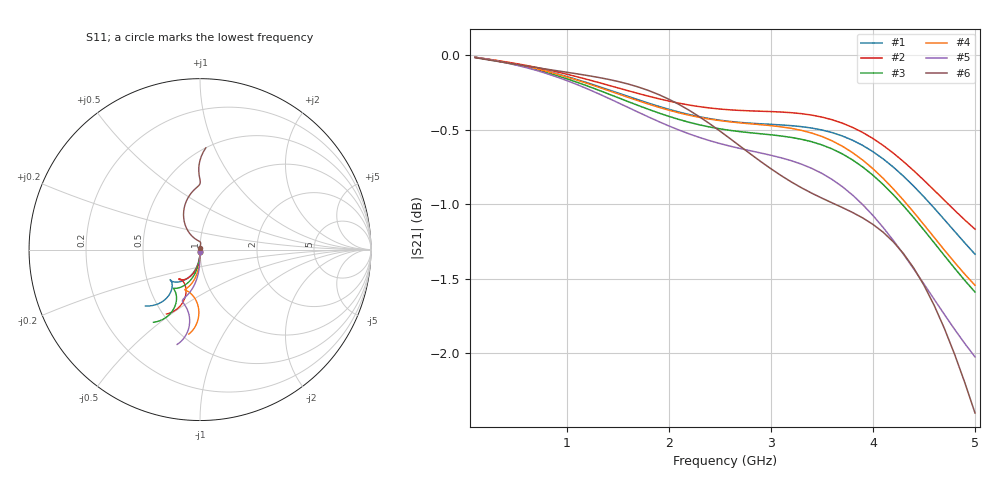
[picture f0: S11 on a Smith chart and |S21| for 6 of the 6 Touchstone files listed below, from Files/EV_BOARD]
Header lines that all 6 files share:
! List of port names and net name(s): example Port n = <port_name> <net_name1> <net_name2> ...
! Port 1 = P1 RF_IN GND GND
! Port 2 = P2 NetDD1_9 GND
# hz S ri R 50
! 2 Port Network Data from data block
! freq  reS11  imS11  reS21  imS21  reS12  imS12  reS22  imS22
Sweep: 100 MHz to 5 GHz
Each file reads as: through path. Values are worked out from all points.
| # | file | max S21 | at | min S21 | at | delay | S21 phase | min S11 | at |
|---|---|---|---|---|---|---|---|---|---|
| 1 | RF_IN_0R2MM_15MM.s2p | -0.01 dB | 100 MHz | -1.3 dB | 5 GHz | 151 ps | -141 deg at 2.6 GHz | -38.5 dB | 100 MHz |
| 2 | RF_IN_0R5MM_15MM.s2p | -0.01 dB | 100 MHz | -1.2 dB | 5 GHz | 149 ps | -139 deg at 2.6 GHz | -39.7 dB | 100 MHz |
| 3 | RF_IN_0R5MM_18MM.s2p | -0.01 dB | 100 MHz | -1.6 dB | 5 GHz | 150 ps | -141 deg at 2.6 GHz | -37.6 dB | 100 MHz |
| 4 | RF_IN_1R0MM_15MM.s2p | -0.01 dB | 100 MHz | -1.5 dB | 5 GHz | 145 ps | -136 deg at 2.6 GHz | -38.3 dB | 100 MHz |
| 5 | RF_IN_1R0MM_18MM.s2p | -0.01 dB | 100 MHz | -2.0 dB | 5 GHz | 146 ps | -137 deg at 2.6 GHz | -37.1 dB | 100 MHz |
| 6 | RF_IN_Thru.s2p | -0.02 dB | 100 MHz | -2.4 dB | 5 GHz | 177 ps | -165 deg at 2.6 GHz | -43.8 dB | 100 MHz |
